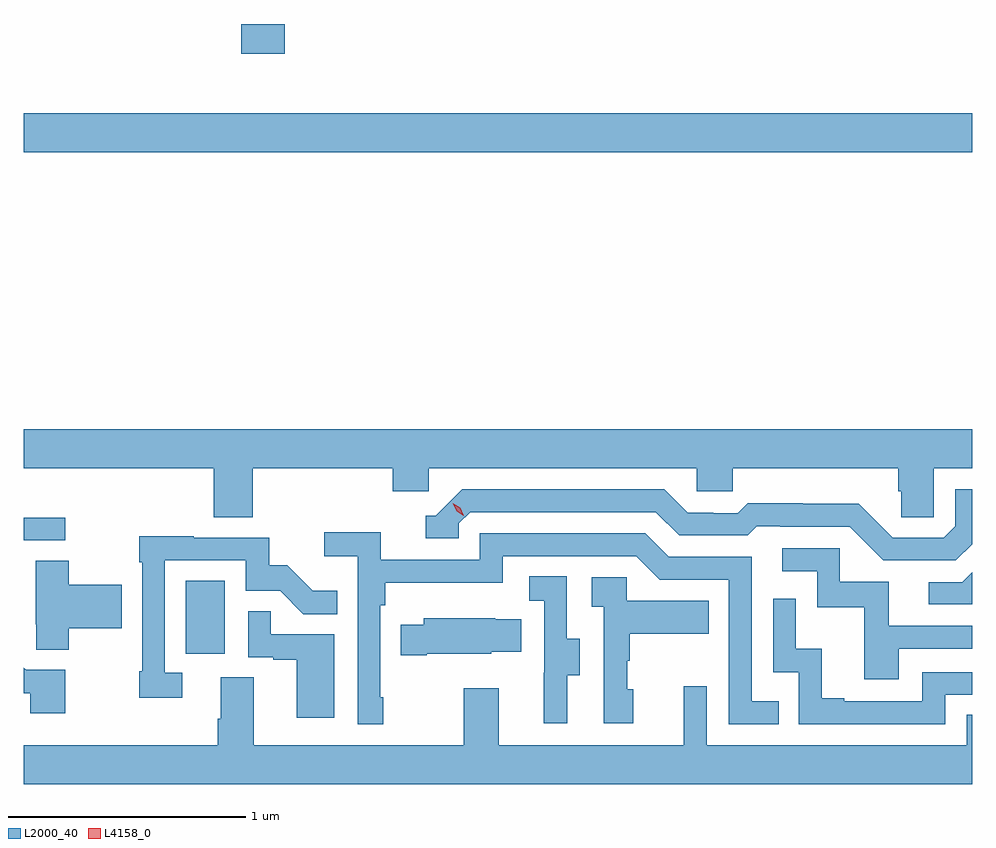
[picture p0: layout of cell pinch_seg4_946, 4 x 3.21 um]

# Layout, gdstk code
import gdstk
lib = gdstk.Library(unit=1e-6, precision=1e-09)
def R(c, l, rs):  # rectangles x0, y0, x1, y1
    for r in rs: c.add(gdstk.rectangle(r[:2], r[2:], *l))
def P(c, l, *ps):  # polygons
    for p in ps: c.add(gdstk.Polygon(p, *l))
L2000_40 = (2000, 40)
L4158_0 = (4158, 0)

pinch_seg4_946 = lib.new_cell('pinch_seg4_946')
R(pinch_seg4_946, L2000_40, [(792.47,769.398,792.634,769.705), (791.786,769.875,791.962,769.971), (791.786,771.512,795.786,771.676), (792.704,771.927,792.887,772.053)])
P(pinch_seg4_946, L2000_40, [(792.752,770.18),(793.343,770.18),(793.343,770.082),(793.494,770.082),(793.494,770.18),(794.625,770.18),(794.625,770.082),(794.775,770.082),(794.775,770.18),(795.473,770.18),(795.473,770.082),(795.487,770.082),(795.487,769.972),(795.624,769.972),(795.624,770.18),(795.786,770.18),(795.786,770.344),(791.786,770.344),(791.786,770.18),(792.587,770.18),(792.587,769.972),(792.752,769.972)],
  [(795.786,769.86),(795.786,770.091),(795.714,770.091),(795.714,769.935),(795.666,769.887),(795.45,769.887),(795.308,770.029),(795.072,770.029),(795.072,770.032),(794.839,770.032),(794.797,769.989),(794.694,769.989),(794.694,769.992),(794.587,769.992),(794.488,770.091),(793.635,770.091),(793.524,769.98),(793.481,769.98),(793.481,769.884),(793.62,769.884),(793.62,769.947),(793.668,769.995),(794.451,769.995),(794.55,769.896),(794.839,769.896),(794.878,769.935),(794.977,769.935),(794.977,769.932),(795.27,769.932),(795.411,769.791),(795.717,769.791)],
  [(793.303,769.213),(793.29,769.213),(793.29,769.601),(793.31,769.601),(793.31,769.697),(793.806,769.697),(793.806,769.809),(794.37,769.809),(794.469,769.71),(794.76,769.71),(794.76,769.101),(794.969,769.101),(794.969,769.197),(794.856,769.197),(794.856,769.806),(794.506,769.806),(794.407,769.905),(793.71,769.905),(793.71,769.794),(793.292,769.794),(793.292,769.91),(793.053,769.91),(793.053,769.808),(793.194,769.808),(793.194,769.101),(793.303,769.101)],
  [(792.454,769.317),(792.381,769.317),(792.381,769.791),(792.723,769.791),(792.723,769.662),(792.867,769.662),(792.965,769.564),(793.109,769.564),(793.109,769.663),(793.005,769.663),(792.898,769.77),(792.822,769.77),(792.822,769.887),(792.503,769.887),(792.503,769.892),(792.273,769.892),(792.273,769.784),(792.285,769.784),(792.285,769.324),(792.273,769.324),(792.273,769.212),(792.454,769.212)],
  [(795.475,769.419),(795.786,769.419),(795.786,769.515),(795.433,769.515),(795.433,769.701),(795.228,769.701),(795.228,769.842),(794.985,769.842),(794.985,769.746),(795.132,769.746),(795.132,769.593),(795.331,769.593),(795.331,769.29),(795.475,769.29)],
  [(791.976,769.505),(792.199,769.505),(792.199,769.688),(791.976,769.688),(791.976,769.79),(791.837,769.79),(791.837,769.522),(791.838,769.522),(791.838,769.414),(791.976,769.414)],
  [(795.786,769.74),(795.744,769.698),(795.603,769.698),(795.603,769.605),(795.786,769.605)],
  [(794.077,769.306),(794.131,769.306),(794.131,769.461),(794.076,769.461),(794.076,769.724),(793.917,769.724),(793.917,769.621),(793.98,769.621),(793.98,769.317),(793.979,769.317),(793.979,769.104),(794.077,769.104)],
  [(794.356,769.248),(794.331,769.248),(794.331,769.367),(794.341,769.367),(794.341,769.481),(794.675,769.481),(794.675,769.621),(794.328,769.621),(794.328,769.719),(794.181,769.719),(794.181,769.595),(794.232,769.595),(794.232,769.104),(794.356,769.104)],
  [(795.672,769.224),(795.786,769.224),(795.786,769.32),(795.576,769.32),(795.576,769.197),(795.247,769.197),(795.247,769.21),(795.152,769.21),(795.152,769.418),(795.042,769.418),(795.042,769.63),(794.946,769.63),(794.946,769.32),(795.054,769.32),(795.054,769.101),(795.672,769.101)],
  [(793.096,769.479),(792.827,769.479),(792.827,769.577),(792.732,769.577),(792.732,769.383),(792.839,769.383),(792.839,769.371),(792.938,769.371),(792.938,769.128),(793.096,769.128)],
  [(793.486,769.397),(793.758,769.397),(793.758,769.406),(793.883,769.406),(793.883,769.543),(793.775,769.543),(793.775,769.546),(793.473,769.546),(793.473,769.519),(793.375,769.519),(793.375,769.39),(793.486,769.39)],
  [(791.961,769.329),(791.796,769.329),(791.786,769.339),(791.786,769.231),(791.813,769.231),(791.813,769.146),(791.961,769.146)],
  [(795.786,769.139),(795.762,769.139),(795.762,769.012),(794.667,769.012),(794.667,769.261),(794.57,769.261),(794.57,769.012),(793.789,769.012),(793.789,769.252),(793.642,769.252),(793.642,769.012),(792.757,769.012),(792.757,769.298),(792.617,769.298),(792.617,769.124),(792.605,769.124),(792.605,769.012),(791.786,769.012),(791.786,768.848),(795.786,768.848)])
P(pinch_seg4_946, L4158_0, [(793.642,769.979),(793.611,769.999),(793.595,770.031),(793.595,770.032),(793.595,770.032),(793.626,770.012),(793.642,769.98),(793.642,769.979)])

lib.write_gds('pinch_seg4_946.gds')
